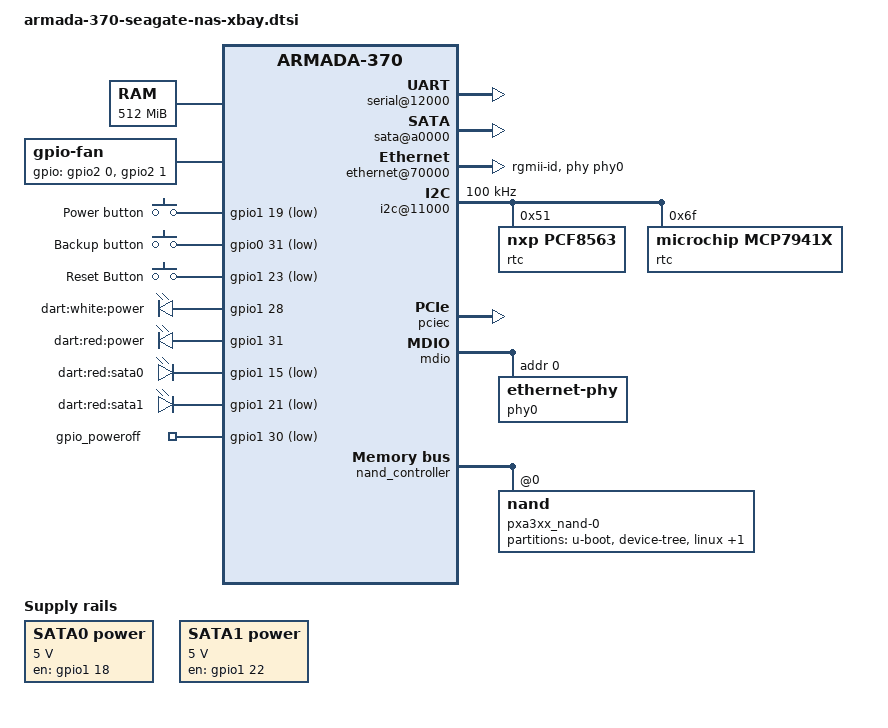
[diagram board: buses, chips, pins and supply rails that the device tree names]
// SPDX-License-Identifier: GPL-2.0
/*
 * Device Tree common file for the Seagate NAS 2 and 4-bay (Armada 370 SoC).
 *
 * Copyright (C) 2015 Seagate
 *
 * Author: Vincent Donnefort <vdonnefort@gmail.com>
 */

/*
 * TODO: add support for the white SATA LEDs associated with HDD 0 and 1.
 */

#include "armada-370.dtsi"
#include <dt-bindings/gpio/gpio.h>
#include <dt-bindings/input/input.h>

/ {
	chosen {
		stdout-path = "serial0:115200n8";
	};

	memory@0 {
		device_type = "memory";
		reg = <0x00000000 0x20000000>; /* 512 MB */
	};

	soc {
		ranges = <MBUS_ID(0xf0, 0x01) 0 0xf1000000 0x100000
			  MBUS_ID(0x01, 0xe0) 0 0xfff00000 0x100000>;

		internal-regs {
			serial@12000 {
				status = "okay";
			};

			sata@a0000 {
				nr-ports = <2>;
				status = "okay";
			};

			ethernet@70000 {
				status = "okay";
				pinctrl-0 = <&ge0_rgmii_pins>;
				pinctrl-names = "default";
				phy = <&phy0>;
				phy-mode = "rgmii-id";
			};

			i2c@11000 {
				status = "okay";
				pinctrl-0 = <&i2c0_pins>;
				pinctrl-names = "default";
				clock-frequency = <100000>;

				/* RTC - NXP 8563T (second source) */
				rtc@51 {
					compatible = "nxp,pcf8563";
					reg = <0x51>;
					interrupts = <110>;
				};
				/* RTC - MCP7940NT */
				rtc@6f {
					compatible = "microchip,mcp7941x";
					reg = <0x6f>;
					interrupts = <110>;
				};
			};
		};

	};

	regulators {
		compatible = "simple-bus";
		#address-cells = <1>;
		#size-cells = <0>;
		pinctrl-names = "default";

		regulator@1 {
			compatible = "regulator-fixed";
			reg = <1>;
			regulator-name = "SATA0 power";
			regulator-min-microvolt = <5000000>;
			regulator-max-microvolt = <5000000>;
			enable-active-high;
			regulator-always-on;
			regulator-boot-on;
			gpio = <&gpio1 18 GPIO_ACTIVE_HIGH>;
		};
		regulator@2 {
			compatible = "regulator-fixed";
			reg = <2>;
			regulator-name = "SATA1 power";
			regulator-min-microvolt = <5000000>;
			regulator-max-microvolt = <5000000>;
			enable-active-high;
			regulator-always-on;
			regulator-boot-on;
			gpio = <&gpio1 22 GPIO_ACTIVE_HIGH>;
		};
	};

	gpio-fan {
		compatible = "gpio-fan";
		gpios = <&gpio2 0 GPIO_ACTIVE_HIGH
			 &gpio2 1 GPIO_ACTIVE_HIGH>;
	};

	gpio-keys {
		compatible = "gpio-keys";
		#address-cells = <1>;
		#size-cells = <0>;

		power {
			label = "Power button";
			linux,code = <KEY_POWER>;
			gpios = <&gpio1 19 GPIO_ACTIVE_LOW>;
			debounce-interval = <100>;
		};
		backup {
			label = "Backup button";
			linux,code = <KEY_OPTION>;
			gpios = <&gpio0 31 GPIO_ACTIVE_LOW>;
			debounce-interval = <100>;
		};
		reset {
			label = "Reset Button";
			linux,code = <KEY_RESTART>;
			gpios = <&gpio1 23 GPIO_ACTIVE_LOW>;
			debounce-interval = <100>;
		};
	};

	gpio-leds {
		compatible = "gpio-leds";

		white-power {
			label = "dart:white:power";
			gpios = <&gpio1 28 GPIO_ACTIVE_HIGH>;
			linux,default-trigger = "timer";

		};
		red-power {
			label = "dart:red:power";
			gpios = <&gpio1 31 GPIO_ACTIVE_HIGH>;
		};
		red-sata0 {
			label = "dart:red:sata0";
			gpios = <&gpio1 15 GPIO_ACTIVE_LOW>;
		};
		red-sata1 {
			label = "dart:red:sata1";
			gpios = <&gpio1 21 GPIO_ACTIVE_LOW>;
		};
	};

	gpio_poweroff {
		compatible = "gpio-poweroff";
		gpios = <&gpio1 30 GPIO_ACTIVE_LOW>;
	};
};

&pciec {
	status = "okay";

	/* USB 3.0 bridge ASM1042A */
	pcie@2,0 {
		status = "okay";
	};
};


&mdio {
	pinctrl-0 = <&mdio_pins>;
	pinctrl-names = "default";

	phy0: ethernet-phy@0 {
		reg = <0>;
	};
};

&pinctrl {
	pinctrl-0 = <&hdd0_led_sata_pin>, <&hdd1_led_sata_pin>;
	pinctrl-names = "default";

	hdd0_led_sata_pin: hdd0-led-sata-pin {
		marvell,pins = "mpp48";
		marvell,function = "sata1";
	};
	hdd0_led_gpio_pin: hdd0-led-gpio-pin {
		marvell,pins = "mpp48";
		marvell,function = "gpio";
	};
	hdd1_led_sata_pin: hdd1-led-sata-pin {
		marvell,pins = "mpp57";
		marvell,function = "sata0";
	};
	hdd1_led_gpio_pin: hdd1-led-gpio-pin {
		marvell,pins = "mpp57";
		marvell,function = "gpio";
	};
};

&nand_controller {
	status = "okay";

	nand@0 {
		reg = <0>;
		label = "pxa3xx_nand-0";
		nand-rb = <0>;
		marvell,nand-keep-config;
		nand-on-flash-bbt;
		nand-ecc-strength = <4>;
		nand-ecc-step-size = <512>;

		partitions {
			compatible = "fixed-partitions";
			#address-cells = <1>;
			#size-cells = <1>;

			partition@0 {
				label = "u-boot";
				reg = <0x0 0x300000>;
			};
			partition@300000 {
				label = "device-tree";
				reg = <0x300000 0x20000>;
			};
			partition@320000 {
				label = "linux";
				reg = <0x320000 0x2000000>;
			};
			partition@2320000 {
				label = "rootfs";
				reg = <0x2320000 0xdce0000>;
			};
		};
	};
};
